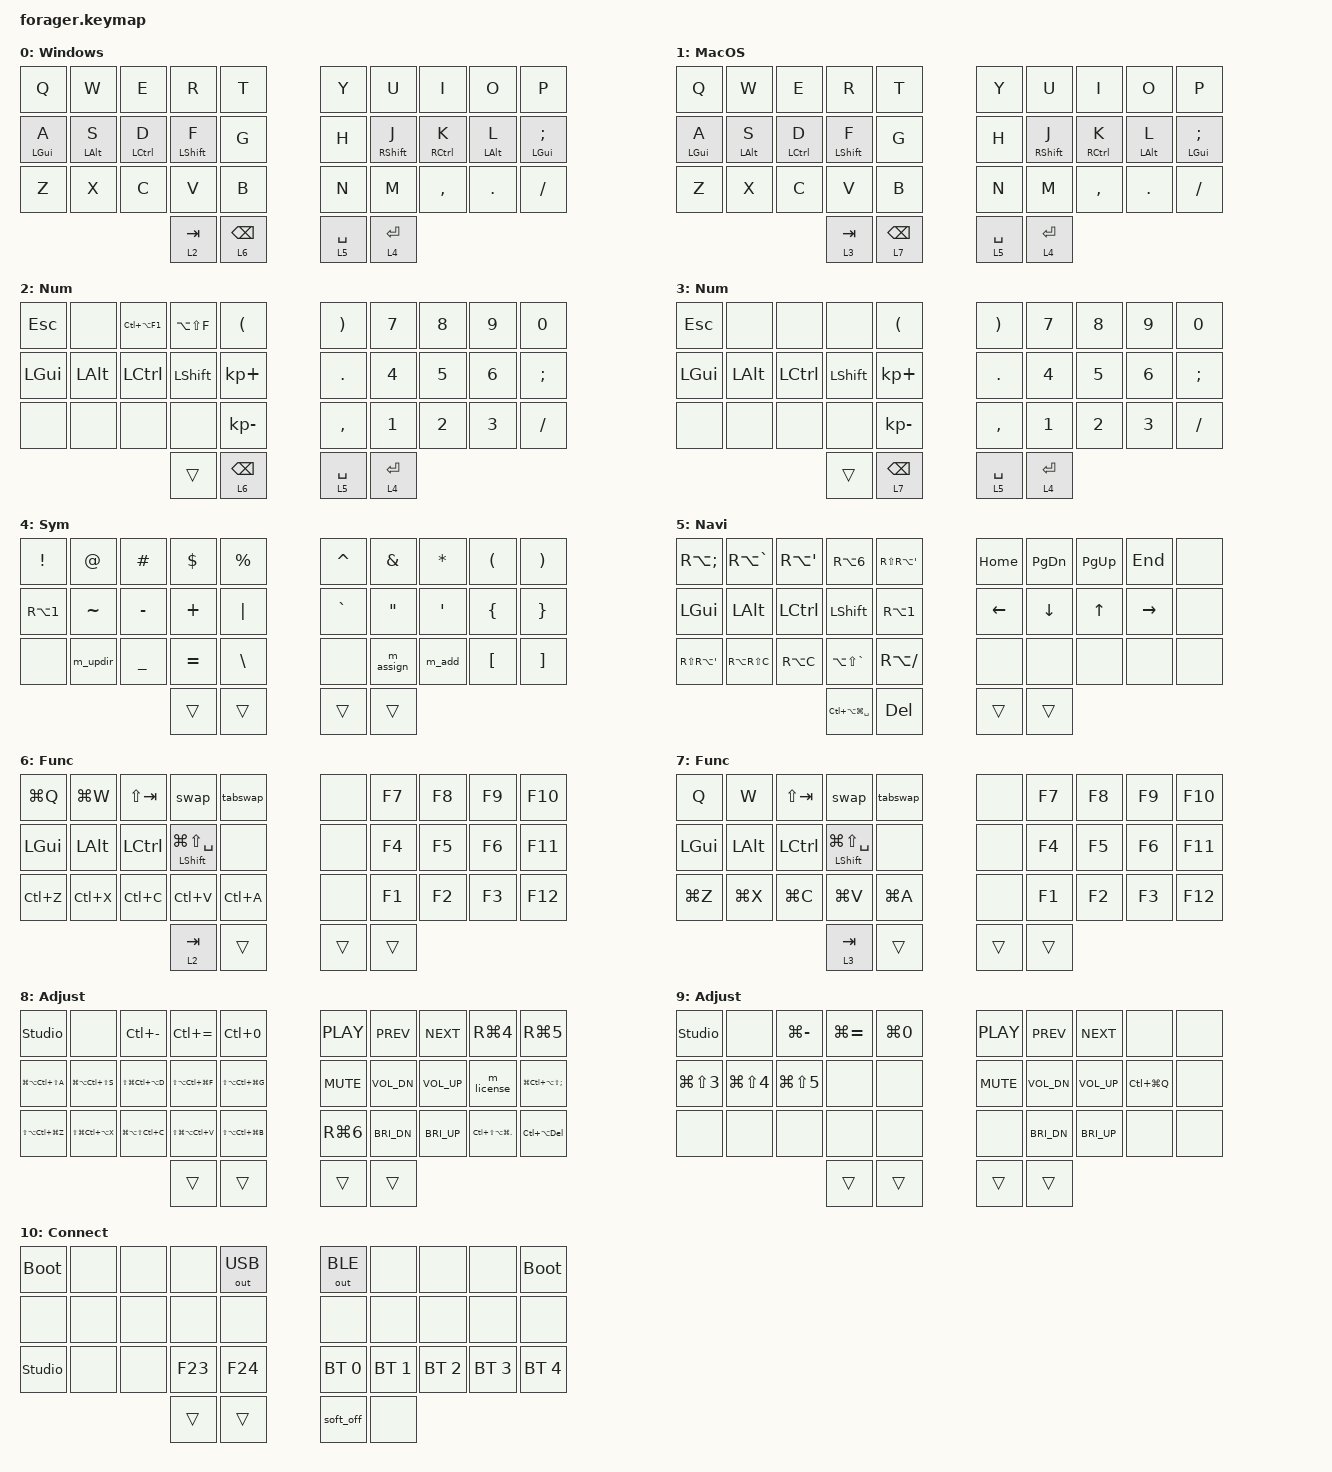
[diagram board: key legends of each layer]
/*
 * Copyright (c) 2020 duckyb
 *
 * SPDX-License-Identifier: MIT
 */

#include <behaviors/rgbled_widget.dtsi>
#include <behaviors.dtsi>
#include <dt-bindings/zmk/bt.h>
#include <dt-bindings/zmk/keys.h>
#include <dt-bindings/zmk/outputs.h>

&soft_off {
    hold-time-ms = <500>; // Only turn off it the key is held for half a secod or longer.
};

&sk {
    // don't release mods on other mods presses

    ignore-modifiers;
};

/ {
    behaviors {
        ht: hold_tap {
            label = "hold_tap";
            compatible = "zmk,behavior-hold-tap";
            #binding-cells = <2>;
            flavor = "tap-preferred";
            tapping-term-ms = <200>;
            quick-tap-ms = <0>;
            global-quick-tap;
            bindings = <&kp>, <&kp>;
        };

        swap: swapper {
            compatible = "zmk,behavior-tri-state";
            label = "SWAPPER";
            #binding-cells = <0>;
            bindings = <&kt LALT>, <&kp TAB>, <&kt LALT>;

            ignored-key-positions = <0 1 2>;
            ignored-layers = <1>;
        };

        tabswap: tswapper {
            compatible = "zmk,behavior-tri-state";
            label = "TSWAPPER";
            #binding-cells = <0>;
            bindings = <&kt LCTRL>, <&kp TAB>, <&kt LCTRL>;

            ignored-key-positions = <2>;
            ignored-layers = <1>;
        };

        pht: pinky_hold_tap {
            compatible = "zmk,behavior-hold-tap";
            label = "pinky_hold_tap";
            bindings = <&kp>, <&kp>;

            #binding-cells = <2>;
            tapping-term-ms = <300>;
            flavor = "tap-preferred";
            require-prior-idle-ms = <100>;
        };
    };

    conditional_layers {
        compatible = "zmk,conditional-layers";

        Adjustment_Layer {
            if-layers = <2 4>;
            then-layer = <8>;
        };

        Adjustment_Mac {
            if-layers = <3 4>;
            then-layer = <9>;
        };

        Connection_Layer {
            if-layers = <2 6>;
            then-layer = <10>;
        };

        Connection_Mac {
            if-layers = <3 7>;
            then-layer = <10>;
        };
    };

    macros {
        m_updir: m_updir {
            compatible = "zmk,behavior-macro";
            #binding-cells = <0>;
            bindings = <&kp DOT &kp DOT &kp FSLH>;
            label = "M_UPDIR";
        };

        m_assign: m_assign {
            compatible = "zmk,behavior-macro";
            #binding-cells = <0>;
            bindings = <&kp COLON &kp EQUAL>;
            label = "M_ASSIGN";
        };

        m_add: m_add {
            compatible = "zmk,behavior-macro";
            #binding-cells = <0>;
            bindings = <&kp PLUS &kp EQUAL>;
            label = "M_ADD";
        };

        m_license: m_license {
            compatible = "zmk,behavior-macro";
            #binding-cells = <0>;
            bindings = <&kp LA(H) &kp L>, <&macro_wait_time 500>, <&kp LA(C)>;

            label = "M_LICENSE";
        };
    };

    combos {
        compatible = "zmk,combos";

        combo_esc_left {
            bindings = <&kp ESC>;
            key-positions = <2 3>;
            timeout-ms = <30>;
            require-prior-idle-ms = <30>;
        };

        combo_esc_right {
            bindings = <&kp ESC>;
            key-positions = <6 7>;
            timeout-ms = <30>;
            require-prior-idle-ms = <30>;
        };

        combo_meet_mute {
            bindings = <&kp LC(D)>;
            key-positions = <26 27>;
            layers = <0>;
        };

        combo_meet_cam {
            bindings = <&kp LC(E)>;
            key-positions = <27 28>;
            layers = <0>;
        };

        combo_caps_word {
            bindings = <&caps_word>;
            key-positions = <13 16>;
            layers = <0 1>;
            timeout-ms = <40>;
            require-prior-idle-ms = <40>;
        };

        combo_cut_win {
            bindings = <&kp LC(X)>;
            key-positions = <20 21>;
            layers = <0>;
        };

        combo_copy_win {
            bindings = <&kp LC(C)>;
            key-positions = <21 22>;
            layers = <0>;
        };

        combo_paste_win {
            bindings = <&kp LC(V)>;
            key-positions = <22 23>;
            layers = <0>;
        };

        combo_select_all_win {
            bindings = <&kp LC(A)>;
            key-positions = <24 23>;
            layers = <0>;
        };

        combo_cut_mac {
            bindings = <&kp LG(X)>;
            key-positions = <20 21>;
            layers = <1>;
        };

        combo_copy_mac {
            bindings = <&kp LG(C)>;
            key-positions = <21 22>;
            layers = <1>;
        };

        combo_paste_mac {
            bindings = <&kp LG(V)>;
            key-positions = <22 23>;
            layers = <1>;
        };

        combo_select_mac {
            bindings = <&kp LG(A)>;
            key-positions = <23 24>;
            layers = <1>;
        };

        combo_win_switch {
            bindings = <&to 0>;
            key-positions = <20 0>;
            layers = <0 1>;
        };

        combo_mac_switch {
            bindings = <&to 1>;
            key-positions = <29 9>;
            layers = <0 1>;
        };

        combo_ble_clear_all {
            bindings = <&bt BT_CLR_ALL>;
            key-positions = <5 9>;
            layers = <10>;
        };

        combo_ble_clear {
            bindings = <&bt BT_CLR>;
            key-positions = <5 6>;
            layers = <10>;
        };

        combo_dongle_bootloader {
            bindings = <&bootloader>;
            key-positions = <20 21>;
            layers = <10>;
        };

        combo_dongle_reset {
            bindings = <&sys_reset>;
            key-positions = <29 28>;
            layers = <10>;
        };

        combo_bc_inspect {
            bindings = <&kp LC(LA(F1))>;
            key-positions = <24 25>;
            layers = <0>;
        };

        combo_chrome_devel {
            bindings = <&kp LC(LS(I))>;
            key-positions = <4 5>;
            layers = <0>;
        };

        combo_lshift {
            bindings = <&kp LSHFT>;
            key-positions = <13 14>;
            layers = <0 1>;
        };

        combo_rshift {
            bindings = <&kp RSHFT>;
            key-positions = <16 15>;
            layers = <0 1>;
        };
    };

    keymap {
        compatible = "zmk,keymap";

        Base {
            display-name = "Windows";
            bindings = <
  &kp Q        &kp W           &kp E        &kp R         &kp T         &kp Y        &kp U         &kp I        &kp O       &kp P
  &pht LGUI A  &ht LEFT_ALT S  &ht LCTRL D  &ht LSHIFT F  &kp G         &kp H        &ht RSHIFT J  &ht RCTRL K  &ht LALT L  &pht LGUI SEMI
  &kp Z        &kp X           &kp C        &kp V         &kp B         &kp N        &kp M         &kp COMMA    &kp DOT     &kp SLASH
                                            &lt 2 TAB     &lt 6 BSPC    &lt 5 SPACE  &lt 4 RETURN
            >;
        };

        Mac_Base {
            display-name = "MacOS";
            bindings = <
  &kp Q        &kp W           &kp E        &kp R         &kp T         &kp Y        &kp U         &kp I        &kp O       &kp P
  &pht LGUI A  &ht LEFT_ALT S  &ht LCTRL D  &ht LSHIFT F  &kp G         &kp H        &ht RSHIFT J  &ht RCTRL K  &ht LALT L  &pht LGUI SEMI
  &kp Z        &kp X           &kp C        &kp V         &kp B         &kp N        &kp M         &kp COMMA    &kp DOT     &kp SLASH
                                            &lt 3 TAB     &lt 7 BSPC    &lt 5 SPACE  &lt 4 RETURN
            >;
        };

        Numpad {
            display-name = "Num";
            bindings = <
  &kp ESC   &none     &kp LC(LA(F1))  &kp LA(LS(F))  &kp LPAR        &kp RPAR     &kp N7       &kp N8  &kp N9  &kp N0
  &kp LGUI  &kp LALT  &kp LCTRL       &kp LSHFT      &kp KP_PLUS     &kp DOT      &kp N4       &kp N5  &kp N6  &kp SEMI
  &none     &none     &none           &none          &kp KP_MINUS    &kp COMMA    &kp N1       &kp N2  &kp N3  &kp FSLH
                                      &trans         &lt 6 BSPC      &lt 5 SPACE  &lt 4 ENTER
            >;
        };

        Mac_Numpad {
            display-name = "Num";
            bindings = <
  &kp ESC   &none     &none      &none      &kp LPAR        &kp RPAR     &kp N7       &kp N8  &kp N9  &kp N0
  &kp LGUI  &kp LALT  &kp LCTRL  &kp LSHFT  &kp KP_PLUS     &kp DOT      &kp N4       &kp N5  &kp N6  &kp SEMI
  &none     &none     &none      &none      &kp KP_MINUS    &kp COMMA    &kp N1       &kp N2  &kp N3  &kp FSLH
                                 &trans     &lt 7 BSPC      &lt 5 SPACE  &lt 4 ENTER
            >;
        };

        Symbols {
            display-name = "Sym";
            bindings = <
  &kp EXCL    &kp AT     &kp HASH   &kp DOLLAR  &kp PERCENT    &kp CARET  &kp AMPS   &kp ASTRK  &kp LPAR  &kp RPAR
  &kp RA(N1)  &kp TILDE  &kp MINUS  &kp PLUS    &kp PIPE       &kp GRAVE  &kp DQT    &kp SQT    &kp LBRC  &kp RBRC
  &none       &m_updir   &kp UNDER  &kp EQUAL   &kp BSLH       &none      &m_assign  &m_add     &kp LBKT  &kp RBKT
                                    &trans      &trans         &trans     &trans
            >;
        };

        Navigation {
            display-name = "Navi";
            bindings = <
  &kp RA(SEMI)     &kp RA(GRAVE)  &kp RA(SQT)  &kp RA(NUMBER_6)       &kp RS(RA(SQT))    &kp HOME  &kp PG_DN  &kp PG_UP  &kp END    &none
  &kp LGUI         &kp LALT       &kp LCTRL    &kp LSHFT              &kp RA(N1)         &kp LEFT  &kp DOWN   &kp UP     &kp RIGHT  &none
  &kp RS(RA(SQT))  &kp RA(RS(C))  &kp RA(C)    &kp LA(LS(GRAVE))      &kp RA(SLASH)      &none     &none      &none      &none      &none
                                               &kp LC(LA(LG(SPACE)))  &kp DEL            &trans    &trans
            >;
        };

        FKeys {
            display-name = "Func";
            bindings = <
  &kp LG(Q)  &kp LG(W)  &kp LS(TAB)  &swap                    &tabswap     &none   &kp F7  &kp F8  &kp F9  &kp F10
  &kp LGUI   &kp LALT   &kp LCTRL    &ht LSHFT LG(LS(SPACE))  &none        &none   &kp F4  &kp F5  &kp F6  &kp F11
  &kp LC(Z)  &kp LC(X)  &kp LC(C)    &kp LC(V)                &kp LC(A)    &none   &kp F1  &kp F2  &kp F3  &kp F12
                                     &lt 2 TAB                &trans       &trans  &trans
            >;
        };

        Mac_FKeys {
            display-name = "Func";
            bindings = <
  &kp Q      &kp W      &kp LS(TAB)  &swap                         &tabswap     &none   &kp F7  &kp F8  &kp F9  &kp F10
  &kp LGUI   &kp LALT   &kp LCTRL    &ht LEFT_SHIFT LG(LS(SPACE))  &none        &none   &kp F4  &kp F5  &kp F6  &kp F11
  &kp LG(Z)  &kp LG(X)  &kp LG(C)    &kp LG(V)                     &kp LG(A)    &none   &kp F1  &kp F2  &kp F3  &kp F12
                                     &lt 3 TAB                     &trans       &trans  &trans
            >;
        };

        Adjustments {
            display-name = "Adjust";
            bindings = <
  &studio_unlock         &none                  &kp LC(MINUS)          &kp LC(EQUAL)          &kp LC(N0)               &kp C_PLAY  &kp C_PREV    &kp C_NEXT    &kp RG(N4)               &kp RG(N5)
  &kp LG(LA(LC(LS(A))))  &kp LG(LA(LC(LS(S))))  &kp LS(LG(LC(LA(D))))  &kp LS(LA(LC(LG(F))))  &kp LS(LA(LC(LG(G))))    &kp C_MUTE  &kp C_VOL_DN  &kp C_VOL_UP  &m_license               &kp LG(LC(LA(LS(SEMI))))
  &kp LS(LA(LC(LG(Z))))  &kp LS(LG(LC(LA(X))))  &kp LG(LA(LS(LC(C))))  &kp LS(LG(LA(LC(V))))  &kp LS(LA(LC(LG(B))))    &kp RG(N6)  &kp C_BRI_DN  &kp C_BRI_UP  &kp LC(LS(LA(LG(DOT))))  &kp LC(LA(DEL))
                                                                       &trans                 &trans                   &trans      &trans
            >;
        };

        Mac_Adjustments {
            display-name = "Adjust";
            bindings = <
  &studio_unlock  &none           &kp LG(MINUS)   &kp LG(EQUAL)  &kp LG(N0)    &kp C_PLAY  &kp C_PREV    &kp C_NEXT    &none          &none
  &kp LG(LS(N3))  &kp LG(LS(N4))  &kp LG(LS(N5))  &none          &none         &kp C_MUTE  &kp C_VOL_DN  &kp C_VOL_UP  &kp LC(LG(Q))  &none
  &none           &none           &none           &none          &none         &none       &kp C_BRI_DN  &kp C_BRI_UP  &none          &none
                                                  &trans         &trans        &trans      &trans
            >;
        };

        Connectivity {
            display-name = "Connect";
            bindings = <
  &bootloader     &none  &none  &none    &out OUT_USB    &out OUT_BLE  &none         &none         &none         &bootloader
  &none           &none  &none  &none    &none           &none         &none         &none         &none         &none
  &studio_unlock  &none  &none  &kp F23  &kp F24         &bt BT_SEL 0  &bt BT_SEL 1  &bt BT_SEL 2  &bt BT_SEL 3  &bt BT_SEL 4
                                &trans   &trans          &soft_off     &none
            >;
        };
    };
};
